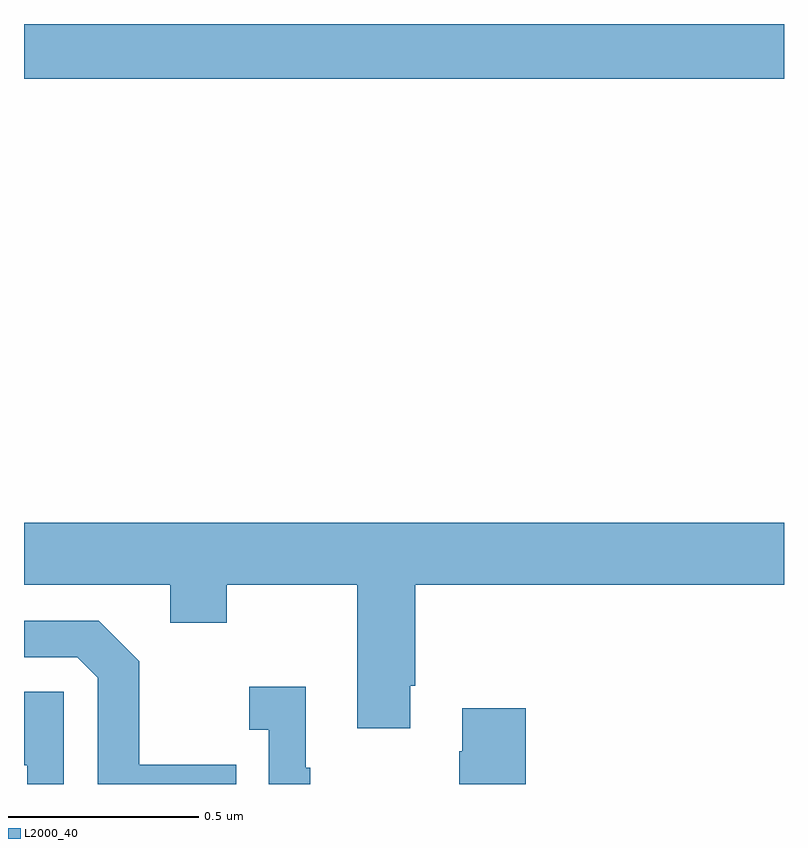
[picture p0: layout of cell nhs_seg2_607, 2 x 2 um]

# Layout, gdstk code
import gdstk
lib = gdstk.Library(unit=1e-6, precision=1e-09)
def R(c, l, rs):  # rectangles x0, y0, x1, y1
    for r in rs: c.add(gdstk.rectangle(r[:2], r[2:], *l))
def P(c, l, *ps):  # polygons
    for p in ps: c.add(gdstk.Polygon(p, *l))
L2000_40 = (2000, 40)

nhs_seg2_607 = lib.new_cell('nhs_seg2_607')
R(nhs_seg2_607, L2000_40, [(118,627.656,120,627.8)])
P(nhs_seg2_607, L2000_40, [(119.017,626.059),(119.03,626.059),(119.03,626.324),(120,626.324),(120,626.488),(118,626.488),(118,626.324),(118.385,626.324),(118.385,626.225),(118.533,626.225),(118.533,626.324),(118.877,626.324),(118.877,625.947),(119.017,625.947)],
  [(118.559,625.851),(118.303,625.851),(118.303,626.123),(118.197,626.229),(118,626.229),(118,626.133),(118.14,626.133),(118.194,626.079),(118.194,625.8),(118.559,625.8)],
  [(118.753,625.843),(118.741,625.843),(118.741,626.056),(118.593,626.056),(118.593,625.943),(118.644,625.943),(118.644,625.8),(118.753,625.8)],
  [(118.104,626.043),(118,626.043),(118,625.85),(118.008,625.85),(118.008,625.8),(118.104,625.8)],
  [(119.321,625.999),(119.153,625.999),(119.153,625.886),(119.146,625.886),(119.146,625.8),(119.321,625.8)])

lib.write_gds('nhs_seg2_607.gds')
